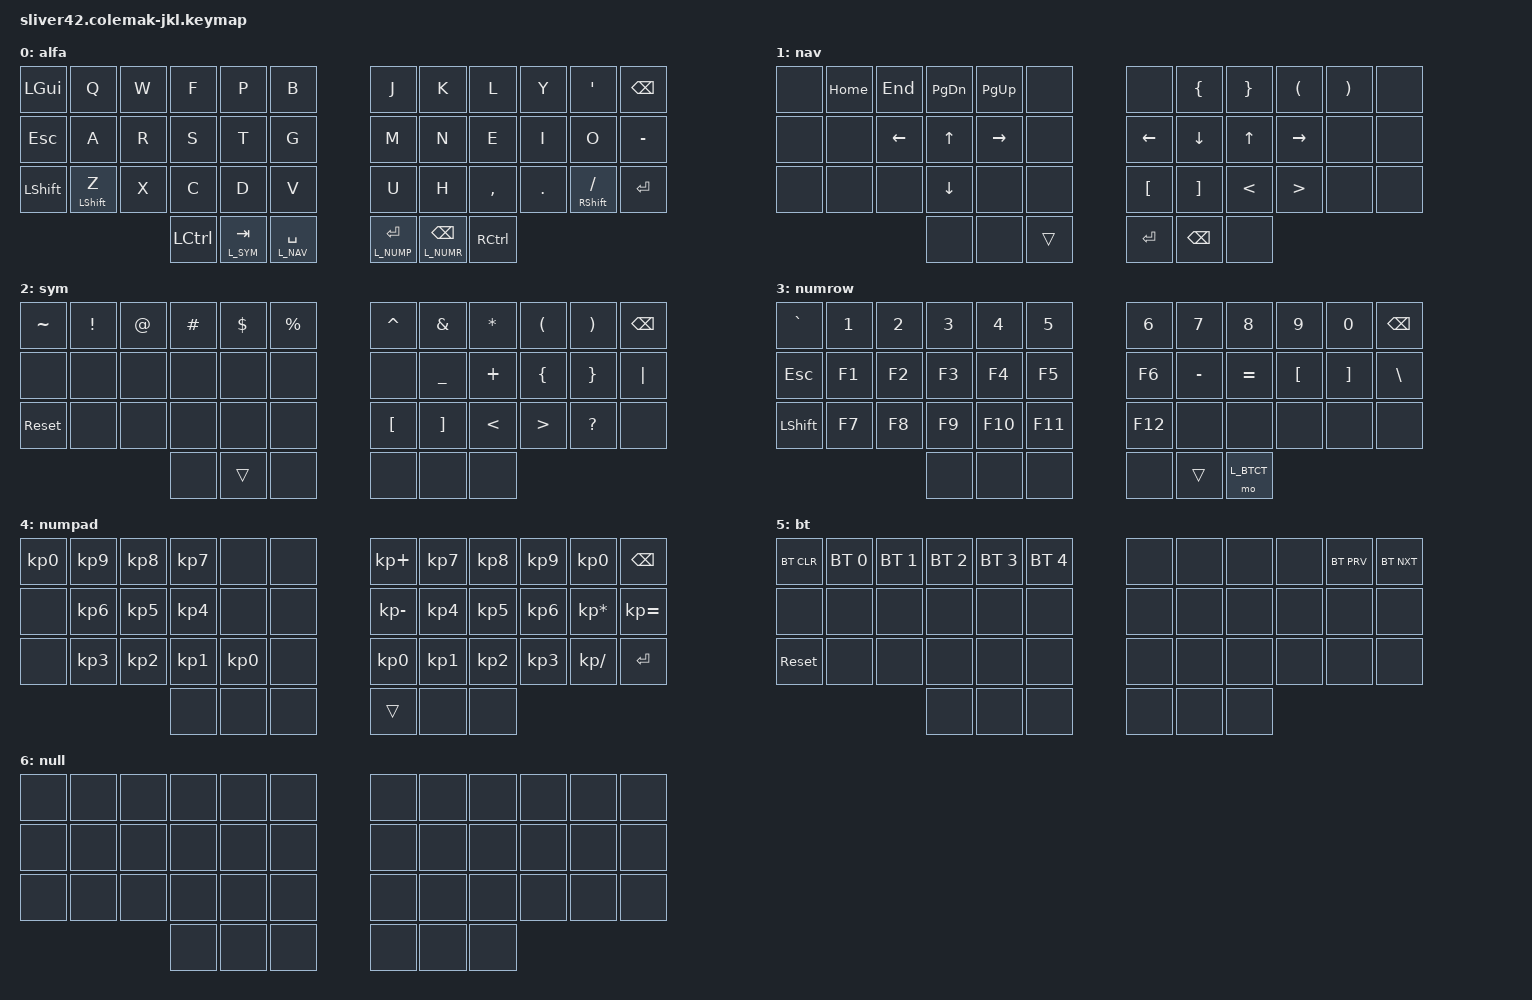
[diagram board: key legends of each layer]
#include <behaviors.dtsi>
#include <dt-bindings/zmk/bt.h>
#include <dt-bindings/zmk/keys.h>

#define L_ALFA 0
#define L_NAV 1
#define L_SYM 2 
#define L_NUMR 3
#define L_NUMP 4
#define L_BTCT 5
#define L_NULL 8

/ {
    keymap {
        compatible = "zmk,keymap";

        alfa {
            bindings = <
&kp LEFT_GUI  &kp Q             &kp W  &kp F      &kp P      &kp B        &kp J        &kp K            &kp L      &kp Y    &kp SINGLE_QUOTE       &kp BSPC
&kp ESC       &kp A             &kp R  &kp S      &kp T      &kp G        &kp M        &kp N            &kp E      &kp I    &kp O                  &kp MINUS
&kp LSHFT     &mt LEFT_SHIFT Z  &kp X  &kp C      &kp D      &kp V        &kp U        &kp H            &kp COMMA  &kp DOT  &mt RIGHT_SHIFT SLASH  &kp ENTER
                                       &kp LCTRL  &lt L_SYM TAB  &lt L_NAV SPACE  &lt L_NUMP ENTER  &lt L_NUMR BSPC  &kp RCTRL
            >;
        };

        nav {
            bindings = <
&none  &kp HOME  &kp END   &kp PG_DN  &kp PG_UP  &none   &none      &kp LBRC  &kp RBRC  &kp LPAR   &kp RPAR  &none
&none  &none     &kp LEFT  &kp UP     &kp RIGHT  &none   &kp LEFT   &kp DOWN  &kp UP    &kp RIGHT  &none     &none
&none  &none     &none     &kp DOWN   &none      &none   &kp LBKT   &kp RBKT  &kp LT    &kp GT     &none     &none
                           &none      &none      &trans  &kp ENTER  &kp BSPC  &none
            >;
        };

        sym {
            bindings = <
&kp TILDE  &kp EXCL  &kp AT  &kp HASH   &kp DOLLAR  &kp PERCENT  &kp CARET  &kp AMPS  &kp ASTRK  &kp LPAR  &kp RPAR  &kp  BSPC
&none  &none  &none  &none  &none   &none  &none  &kp UNDER  &kp PLUS  &kp LBRC  &kp RBRC  &kp PIPE
&sys_reset  &none  &none  &none  &none   &none  &kp LBKT  &kp RBKT  &kp LT    &kp GT     &kp QMARK     &none
                     &none  &trans  &none  &none  &none  &none
            >;
        };

        numrow {
            bindings = <
&kp GRAVE  &kp N1  &kp N2  &kp N3     &kp N4   &kp N5   &kp N6      &kp N7     &kp N8      &kp N9    &kp N0    &kp BSPC
&kp ESC    &kp F1  &kp F2  &kp F3     &kp F4   &kp F5   &kp F6      &kp MINUS  &kp EQUAL   &kp LBKT  &kp RBKT  &kp BACKSLASH
&kp LSHFT  &kp F7  &kp F8  &kp F9     &kp F10  &kp F11  &kp F12     &none      &none       &none     &none     &none
                           &none      &none    &none    &none       &trans     &mo L_BTCT
            >;
        };

        numpad {
            bindings = <
&kp KP_N0  &kp KP_N9  &kp KP_N8  &kp KP_N7  &none      &none  &kp KP_PLUS   &kp KP_N7  &kp KP_N8  &kp KP_N9  &kp KP_N0        &kp BSPC
&none      &kp KP_N6  &kp KP_N5  &kp KP_N4  &none      &none  &kp KP_MINUS  &kp KP_N4  &kp KP_N5  &kp KP_N6  &kp KP_MULTIPLY  &kp KP_EQUAL
&none      &kp KP_N3  &kp KP_N2  &kp KP_N1  &kp KP_N0  &none  &kp KP_N0     &kp KP_N1  &kp KP_N2  &kp KP_N3  &kp KP_DIVIDE    &kp ENTER
                              &none         &none      &none  &trans        &none      &none
            >;
        };

        bt {
            bindings = <
&bt BT_CLR  &bt BT_SEL 0  &bt BT_SEL 1  &bt BT_SEL 2  &bt BT_SEL 3  &bt BT_SEL 4  &none  &none  &none  &none  &bt BT_PRV  &bt BT_NXT
&none       &none         &none         &none         &none         &none         &none  &none  &none  &none  &none       &none
&sys_reset  &none         &none         &none         &none         &none         &none  &none  &none  &none  &none       &none
                                        &none         &none         &none         &none  &none  &none
            >;
        };

        null {
            bindings = <
&none  &none  &none  &none  &none  &none  &none  &none  &none  &none  &none  &none
&none  &none  &none  &none  &none  &none  &none  &none  &none  &none  &none  &none
&none  &none  &none  &none  &none  &none  &none  &none  &none  &none  &none  &none
                     &none  &none  &none  &none  &none  &none
            >;
        };

    };
};
